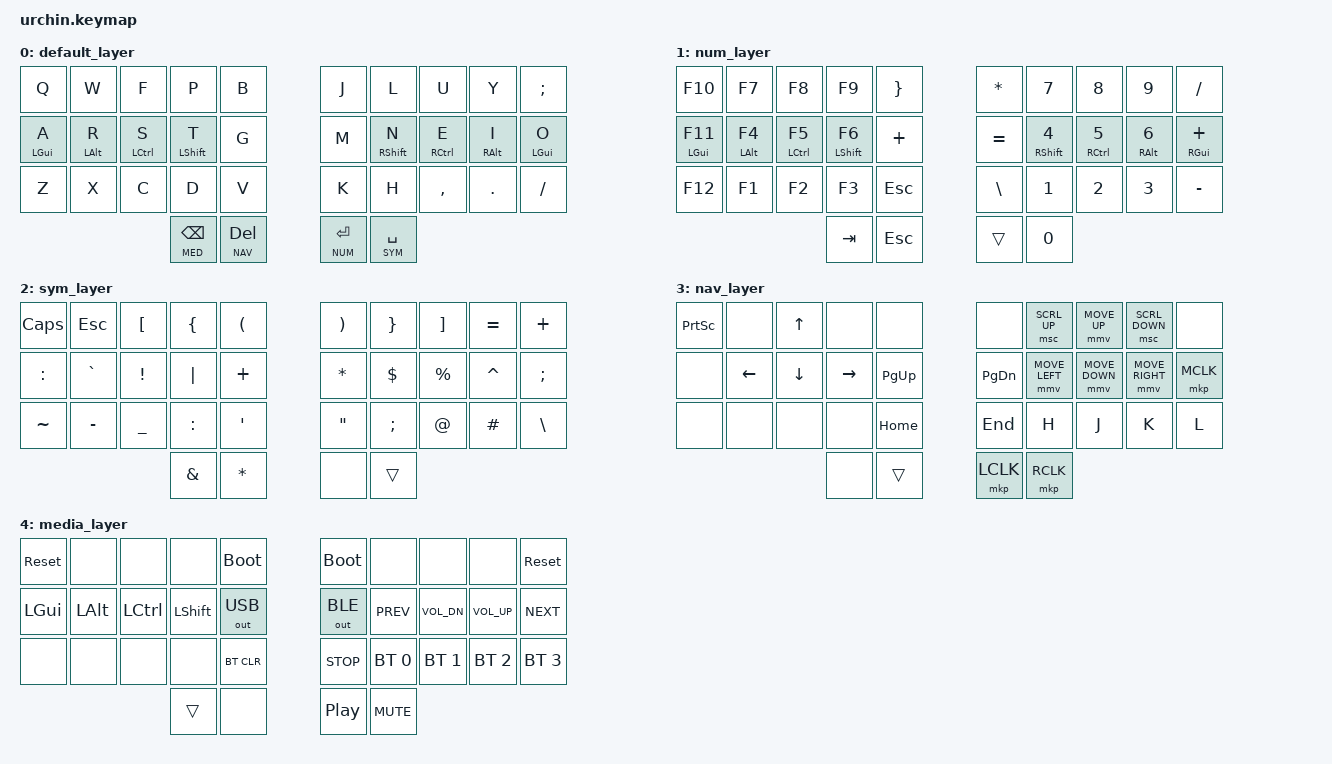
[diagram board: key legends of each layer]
/*
 * Copyright (c) 2020 duckyb
 *
 * SPDX-License-Identifier: MIT
 */

#define ZMK_POINTING_DEFAULT_MOVE_VAL 2500  // 600
#define ZMK_POINTING_DEFAULT_SCRL_VAL 20    // 10

#include <behaviors.dtsi>
#include <dt-bindings/zmk/bt.h>
#include <dt-bindings/zmk/keys.h>
#include <dt-bindings/zmk/outputs.h>
#include <dt-bindings/zmk/pointing.h>

// Layer definitions
#define BASE    0
#define NUM     1
#define SYM     2
#define NAV     3
#define MED     4
// -----------------

&sk {
	// don't release mods on other mods presses
	ignore-modifiers;
};


/ {
    // chosen { zmk,charmap = &charmap_us; };

    behaviors {
        ht: hold_tap {
            label = "hold_tap";
            compatible = "zmk,behavior-hold-tap";
            #binding-cells = <2>;
            flavor = "tap-preferred";
            tapping-term-ms = <220>;
            quick-tap-ms = <150>;
            global-quick-tap;
            bindings = <&kp>, <&kp>;
        };

        mmv {
            acceleration-exponent = <1>;      // 1
            time-to-max-speed-ms = <300>;    // 40
            delay-ms = <0>;                   // 0
        };

        msc {
            acceleration-exponent = <0>;      // 0
            time-to-max-speed-ms = <40>;      // 500
            delay-ms = <0>;                   // 10
        };
    };

    keymap {
        compatible = "zmk,keymap";

        default_layer {
             bindings = <
&kp Q       &kp W       &kp F        &kp P        &kp B         &kp J         &kp L        &kp U        &kp Y       &kp SEMI
&ht LGUI A  &ht LALT R  &ht LCTRL S  &ht LSHFT T  &kp G         &kp M         &ht RSHFT N  &ht RCTRL E  &ht RALT I  &ht LGUI O
&kp Z       &kp X       &kp C        &kp D        &kp V         &kp K         &kp H        &kp COMMA    &kp DOT     &kp FSLH
                                     &lt MED BSPC &lt NAV DEL   &lt NUM RET   &lt SYM SPACE
            >;
        };

        num_layer {
            bindings = <
&kp F10      &kp F7       &kp F8        &kp F9        &kp RBRC    &kp ASTRK  &kp N7        &kp N8        &kp N9       &kp FSLH
&ht LGUI F11 &ht LALT F4  &ht LCTRL F5  &ht LSHFT F6  &kp PLUS    &kp EQUAL  &ht RSHFT N4  &ht RCTRL N5  &ht RALT N6  &ht RGUI PLUS
&kp F12      &kp F1       &kp F2        &kp F3        &kp ESC     &kp BSLH   &kp N1        &kp N2        &kp N3       &kp MINUS
                                        &kp TAB       &kp ESC     &trans     &kp N0 
            >;
        };

        sym_layer {
            bindings = <
&kp CAPS   &kp ESC    &kp LBKT   &kp LBRC   &kp LPAR   &kp RPAR   &kp RBRC  &kp RBKT   &kp EQUAL  &kp PLUS
&kp COLON  &kp GRAVE  &kp EXCL   &kp PIPE   &kp PLUS   &kp ASTRK  &kp DLLR  &kp PRCNT  &kp CARET  &kp SEMI
&kp TILDE  &kp MINUS  &kp UNDER  &kp COLON  &kp SQT    &kp DQT    &kp SEMI  &kp AT     &kp HASH   &kp BSLH
                                 &kp AMPS   &kp ASTRK  &none      &trans
            >;
        };

        nav_layer {
            bindings = <
&kp PSCRN  &none     &kp UP    &none      &none        &none      &msc SCRL_UP    &mmv MOVE_UP    &msc SCRL_DOWN   &none
&none      &kp LEFT  &kp DOWN  &kp RIGHT  &kp PG_UP    &kp PG_DN  &mmv MOVE_LEFT  &mmv MOVE_DOWN  &mmv MOVE_RIGHT  &mkp MCLK
&none      &none     &none     &none      &kp HOME     &kp END    &kp H           &kp J           &kp K            &kp L
                               &none      &trans       &mkp LCLK  &mkp RCLK
            >;
        };

        media_layer {
            bindings = <
&sys_reset  &none     &none      &none      &bootloader     &bootloader   &none         &none         &none         &sys_reset
&kp LGUI    &kp LALT  &kp LCTRL  &kp LSHFT  &out OUT_USB    &out OUT_BLE  &kp C_PREV    &kp C_VOL_DN  &kp C_VOL_UP  &kp C_NEXT
&none       &none     &none      &none      &bt BT_CLR      &kp C_STOP    &bt BT_SEL 0  &bt BT_SEL 1  &bt BT_SEL 2  &bt BT_SEL 3
                                 &trans     &none           &kp C_PP      &kp C_MUTE
            >;
        };

        /*     fun_layer {
            bindings = <
    &kp F12 &kp F7  &kp F8  &kp F9      &kp PSCRN                           &none   &none       &none       &none       &none
    &kp F11 &kp F4  &kp F5  &kp F6      &kp SLCK                            &none   &kp RSHFT   &kp RCTRL   &kp RALT    &kp RGUI
    &kp F10 &kp F1  &kp F2  &kp F3      &kp PAUSE_BREAK                     &none   &none       &none       &none       &none
                            &kp K_APP   &kp SPACE                           &none   &trans
            >;
        }; */
    };
};
